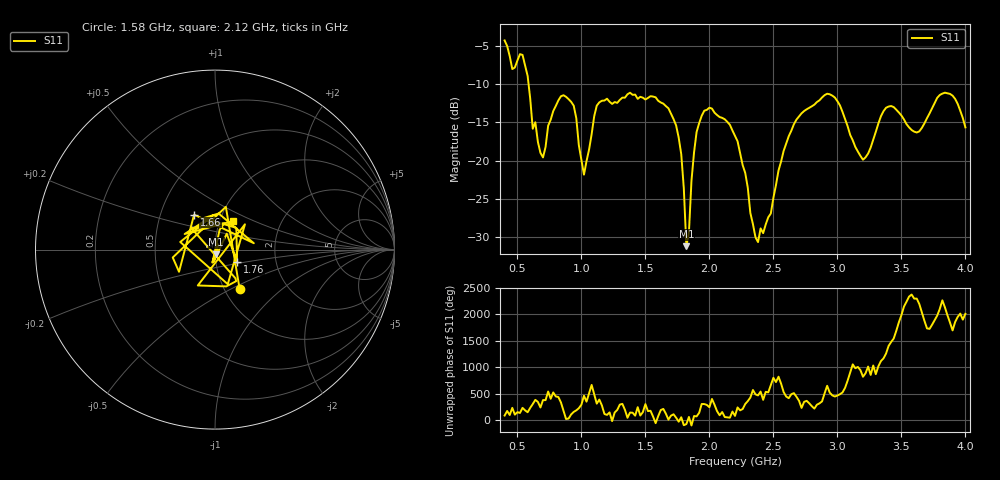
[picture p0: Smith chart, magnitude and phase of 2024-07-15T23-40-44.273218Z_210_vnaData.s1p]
!Created with skrf (http://scikit-rf.org).
# Hz S RI R 50.0
!freq ReS11 ImS11
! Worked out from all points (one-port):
!   181 points, 400 MHz to 4 GHz, reference 50 ohm
!   lowest |S11| = -31.2 dB at 1.82 GHz (marker M1), VSWR 1.06, Z = 50.6 - j2.71 ohm
!   |S11| at or under -10 dB: 587.1 MHz to end of sweep
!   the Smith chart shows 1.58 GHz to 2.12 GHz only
!   S11 on the Smith chart (normalised r, x): 1.58 GHz: 1.18, -0.55; 1.66 GHz: 0.74, +0.30; 1.76 GHz: 1.27, -0.18; 2.12 GHz: 1.15, +0.38
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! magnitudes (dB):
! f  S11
! 400 MHz  -4.3
! 460 MHz  -8.1
! 540 MHz  -6.2
! 620 MHz  -15.8
! 700 MHz  -19.6
! 860 MHz  -11.5
! 940 MHz  -12.8
! 1.02 GHz  -21.8
! 1.12 GHz  -12.8
! 1.3 GHz  -12.1
! 1.58 GHz  -11.7
! 1.66 GHz  -12.9
! 1.76 GHz  -17.0
! 1.8 GHz  -23.6
! 1.82 GHz  -31.2
! 1.88 GHz  -18.9
! 1.92 GHz  -15.1
! 2.12 GHz  -14.6
! 2.2 GHz  -16.8
! 2.38 GHz  -30.6
! 2.66 GHz  -15.3
! 2.92 GHz  -11.3
! 3.1 GHz  -16.6
! 3.2 GHz  -19.9
! 3.38 GHz  -13.1
! 3.56 GHz  -15.7
! 3.84 GHz  -11.1
! 4 GHz  -15.7
